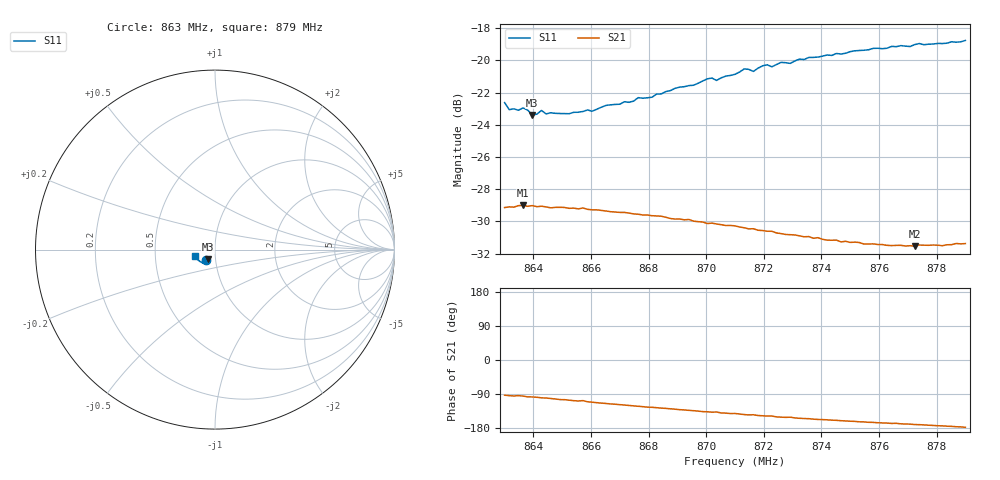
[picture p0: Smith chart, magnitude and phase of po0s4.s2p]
# HZ S RI R 50
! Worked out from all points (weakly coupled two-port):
!   101 points, 863 MHz to 879 MHz, reference 50 ohm
!   highest |S21| = -29.01 dB at 863.64 MHz (marker M1); lowest = -31.5 dB at 877.24 MHz (marker M2)
!   lowest |S11| = -23.4 dB at 863.96 MHz (marker M3), VSWR 1.15, Z = 46 - j5.09 ohm
!   |S11| at or under -10 dB: start of sweep to end of sweep
!   S12 and S22 are empty: the file has one direction only
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8.63e8  -0.0486 -0.0557  -0.00176 -0.0349  0 0  0 0
8.6316e8  -0.042 -0.0564  -0.00248 -0.035  0 0  0 0
8.6364e8  -0.0428 -0.0569  -0.00316 -0.0353  0 0  0 0
8.6396e8  -0.0393 -0.0551  -0.00458 -0.0351  0 0  0 0
8.6428e8  -0.0381 -0.0586  -0.00601 -0.0347  0 0  0 0
8.6444e8  -0.037 -0.0573  -0.0063 -0.0345  0 0  0 0
8.6572e8  -0.0323 -0.0614  -0.0102 -0.0333  0 0  0 0
8.6844e8  -0.0381 -0.0688  -0.0197 -0.0262  0 0  0 0
8.6956e8  -0.0436 -0.0714  -0.0219 -0.0229  0 0  0 0
8.7004e8  -0.0474 -0.0737  -0.0226 -0.0214  0 0  0 0
8.7036e8  -0.0457 -0.0736  -0.0228 -0.0211  0 0  0 0
8.71e8  -0.0502 -0.0753  -0.0238 -0.0192  0 0  0 0
8.7132e8  -0.0564 -0.0754  -0.0244 -0.0178  0 0  0 0
8.7164e8  -0.0533 -0.0755  -0.0244 -0.0174  0 0  0 0
8.7196e8  -0.0606 -0.0747  -0.0249 -0.016  0 0  0 0
8.7228e8  -0.0592 -0.0749  -0.0249 -0.0157  0 0  0 0
8.726e8  -0.0657 -0.0735  -0.0253 -0.0141  0 0  0 0
8.7292e8  -0.0637 -0.0743  -0.0251 -0.014  0 0  0 0
8.7372e8  -0.0721 -0.0724  -0.0256 -0.0114  0 0  0 0
8.7644e8  -0.0939 -0.0584  -0.026 -0.0058  0 0  0 0
8.7724e8  -0.099 -0.0524  -0.0261 -0.00445  0 0  0 0
8.79e8  -0.1094 -0.0365  -0.027 -0.00115  0 0  0 0
